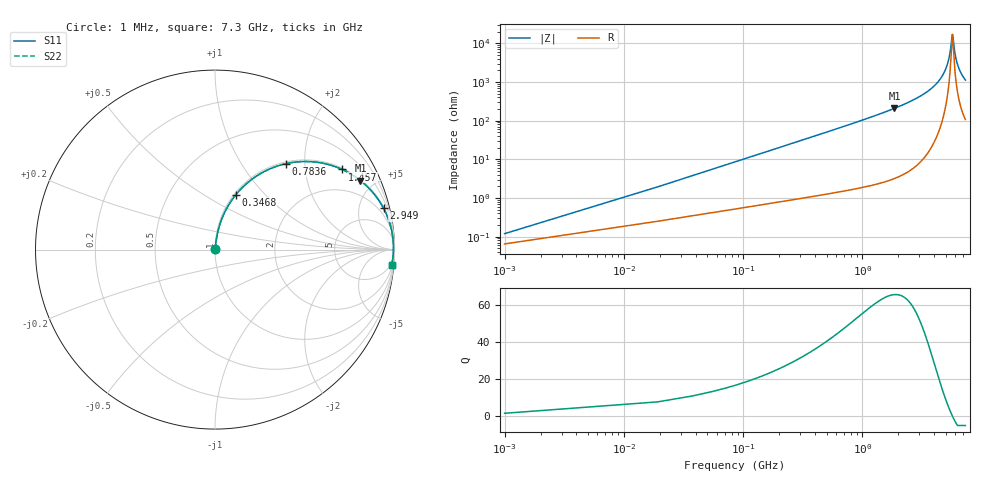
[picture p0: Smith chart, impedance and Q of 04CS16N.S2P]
! Coilcraft 0402CS-16N Chip Inductor
! 22 July 2002
# MHZ S MA R 50
!Freq  MagS11  AngS11  MagS21  AngS21  MagS12  AngS12  MagS22  AngS22
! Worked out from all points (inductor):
!   403 points, 1 MHz to 7.3 GHz, reference 50 ohm
!   read as one part in series: L = 16 nH near 37.4 MHz
!   highest Q = 65.4 at 1.857 GHz (marker M1), where L = 17.9 nH
!   self-resonance near 5.679 GHz
!   S11 on the Smith chart (normalised r, x): 1 MHz: 1.00, +0.00; 346.8 MHz: 1.02, +0.70; 783.6 MHz: 1.03, +1.61; 1.457 GHz: 1.05, +3.14; 2.949 GHz: 1.15, +8.11; 7.3 GHz: 3, -22
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1  0.001196 57.1  0.9993 -0.1  0.9993 -0.1  0.001196 57.1
55.6  0.05574 82.5  0.9943 -3.2  0.9943 -3.2  0.05574 82.5
92  0.09179 81.4  0.9905 -5.3  0.9905 -5.3  0.09179 81.4
183  0.18 77.3  0.9763 -10.4  0.9763 -10.4  0.18 77.3
346.8  0.3274 69.2  0.9352 -19.1  0.9352 -19.1  0.3274 69.2
528.8  0.468 60.7  0.8725 -27.9  0.8725 -27.9  0.468 60.7
783.6  0.6201 50.5  0.7721 -38.3  0.7721 -38.3  0.6201 50.5
1220.4  0.7832 37.5  0.6088 -51.5  0.6088 -51.5  0.7832 37.5
1457  0.8371 32.3  0.5339 -56.8  0.5339 -56.8  0.8371 32.3
1857.4  0.8968 25.4  0.429 -63.7  0.429 -63.7  0.8968 25.4
2439.8  0.9443 18.3  0.3141 -70.8  0.3141 -70.8  0.9443 18.3
2949.4  0.9667 13.8  0.2383 -75.1  0.2383 -75.1  0.9667 13.8
3659.2  0.9834 9.0  0.1566 -79.4  0.1566 -79.4  0.9834 9.0
4369  0.9912 5.3  0.09249 -81.9  0.09249 -81.9  0.9912 5.3
4878.6  0.9936 3.1  0.05364 -81.6  0.05364 -81.6  0.9936 3.1
5333.6  0.9943 1.3  0.0229 -75.1  0.0229 -75.1  0.9943 1.3
5679.4  0.9942 0.0  0.005834 -3.9  0.005834 -3.9  0.9942 0.0
5734  0.9941 -0.2  0.006577 26.3  0.006577 26.3  0.9941 -0.2
5934.2  0.9937 -0.9  0.01608 66.6  0.01608 66.6  0.9937 -0.9
6098  0.9933 -1.4  0.02514 73.9  0.02514 73.9  0.9933 -1.4
6571.2  0.9916 -2.9  0.05083 79.1  0.05083 79.1  0.9916 -2.9
7300  0.9879 -5.0  0.08756 79.5  0.08756 79.5  0.9879 -5.0
